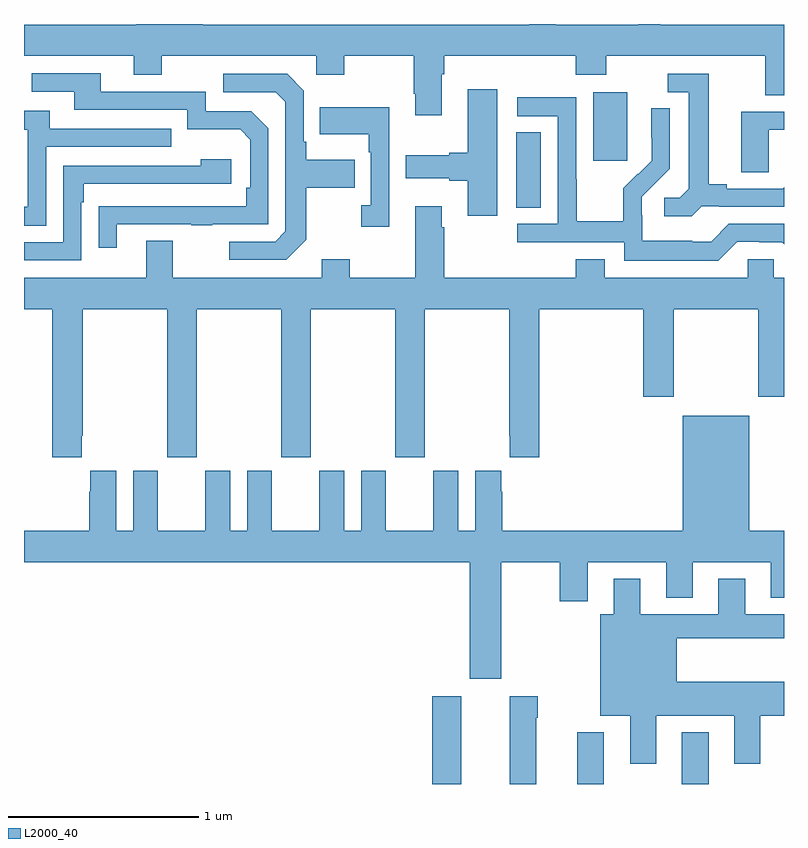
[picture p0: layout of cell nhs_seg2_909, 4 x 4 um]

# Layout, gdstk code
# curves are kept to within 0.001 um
import gdstk
lib = gdstk.Library(unit=1e-6, precision=1e-09)
def R(c, l, rs):  # rectangles x0, y0, x1, y1
    for r in rs: c.add(gdstk.rectangle(r[:2], r[2:], *l))
def P(c, l, *ps):  # polygons
    for p in ps: c.add(gdstk.Polygon(p, *l))
L2000_40 = (2000, 40)

nhs_seg2_909 = lib.new_cell('nhs_seg2_909')
R(nhs_seg2_909, L2000_40, [(159.149,647.8,159.301,648.262), (159.911,647.8,160.051,648.073), (160.463,647.8,160.603,648.073), (159.59,650.833,159.721,651.23), (159.995,651.081,160.174,651.442)])
P(nhs_seg2_909, L2000_40, [(159.199,651.536),(159.212,651.536),(159.212,651.632),(159.905,651.632),(159.905,651.533),(160.065,651.533),(160.065,651.632),(160.901,651.632),(160.901,651.424),(161,651.424),(161,651.796),(160.349,651.796),(160.349,651.8),(160.233,651.8),(160.233,651.796),(159.799,651.796),(159.799,651.8),(159.659,651.8),(159.659,651.796),(157.942,651.796),(157.942,651.8),(157.592,651.8),(157.592,651.796),(157,651.796),(157,651.632),(157.577,651.632),(157.577,651.533),(157.725,651.533),(157.725,651.632),(158.538,651.632),(158.538,651.533),(158.685,651.533),(158.685,651.632),(159.052,651.632),(159.052,651.433),(159.059,651.433),(159.059,651.321),(159.199,651.321)],
  [(157.489,650.745),(157.879,650.745),(157.879,650.74),(157.991,650.74),(157.991,650.745),(158.286,650.745),(158.286,651.252),(158.196,651.342),(157.956,651.342),(157.956,651.444),(157.405,651.444),(157.405,651.54),(157.041,651.54),(157.041,651.444),(157.265,651.444),(157.265,651.348),(157.86,651.348),(157.86,651.245),(158.137,651.245),(158.19,651.192),(158.19,650.938),(158.17,650.938),(158.17,650.841),(157.393,650.84),(157.393,650.622),(157.489,650.622)],
  [(160.566,650.841),(160.66,650.841),(160.66,650.838),(161,650.838),(161,650.94),(160.994,650.934),(160.699,650.934),(160.699,650.957),(160.603,650.957),(160.603,651.537),(160.389,651.537),(160.389,651.441),(160.499,651.441),(160.499,650.933),(160.452,650.886),(160.371,650.886),(160.371,650.789),(160.514,650.789)],
  [(158.485,650.665),(158.485,650.938),(158.741,650.938),(158.741,651.085),(158.485,651.085),(158.485,651.181),(158.472,651.181),(158.472,651.45),(158.385,651.537),(158.049,651.537),(158.049,651.441),(158.325,651.441),(158.376,651.39),(158.376,650.709),(158.322,650.655),(158.079,650.655),(158.079,650.559),(158.379,650.559)],
  [(159.49,651.457),(159.335,651.457),(159.335,651.122),(159.239,651.122),(159.239,651.109),(159.009,651.109),(159.009,650.987),(159.239,650.987),(159.239,650.975),(159.335,650.975),(159.335,650.79),(159.49,650.79)],
  [(160.755,650.655),(160.871,650.655),(160.871,650.652),(160.989,650.652),(161,650.641),(161,650.748),(160.71,650.748),(160.617,650.655),(160.517,650.655),(160.517,650.659),(160.254,650.659),(160.254,650.793),(160.252,650.793),(160.252,650.89),(160.398,651.038),(160.398,651.356),(160.302,651.356),(160.302,651.202),(160.304,651.202),(160.304,651.08),(160.233,651.009),(160.23,651.012),(160.153,650.935),(160.153,650.761),(159.909,650.761),(159.909,650.984),(159.906,650.984),(159.906,651.414),(159.597,651.414),(159.597,651.315),(159.81,651.315),(159.81,650.748),(159.597,650.748),(159.597,650.652),(160.158,650.652),(160.158,650.555),(160.655,650.555)],
  [(158.922,651.361),(158.557,651.361),(158.557,651.221),(158.814,651.221),(158.814,651.125),(158.826,651.125),(158.826,650.846),(158.775,650.846),(158.775,650.733),(158.922,650.733)],
  [(157.116,651.153),(157.775,651.153),(157.775,651.249),(157.135,651.249),(157.135,651.343),(157,651.343),(157,651.243),(157.02,651.243),(157.02,650.838),(157,650.838),(157,650.737),(157.116,650.737)],
  [(160.92,651.243),(161,651.243),(161,651.339),(160.775,651.339),(160.775,651.019),(160.92,651.019)],
  [(157.302,650.861),(157.315,650.861),(157.315,650.958),(158.092,650.958),(158.092,651.088),(157.931,651.088),(157.931,651.054),(157.206,651.054),(157.206,650.652),(157,650.652),(157,650.556),(157.302,650.556)],
  [(157.303,649.633),(157.308,649.633),(157.308,650.3),(157.753,650.3),(157.753,649.521),(157.908,649.521),(157.908,650.3),(158.353,650.3),(158.353,649.521),(158.508,649.521),(158.508,650.3),(158.953,650.3),(158.953,649.521),(159.108,649.521),(159.108,650.3),(159.553,650.3),(159.553,649.633),(159.557,649.633),(159.557,649.521),(159.713,649.521),(159.713,650.3),(160.259,650.3),(160.259,649.839),(160.419,649.839),(160.419,650.3),(160.864,650.3),(160.864,649.839),(161,649.839),(161,650.464),(160.947,650.464),(160.947,650.562),(160.809,650.562),(160.809,650.464),(160.057,650.464),(160.057,650.563),(159.905,650.563),(159.905,650.464),(159.212,650.464),(159.212,650.729),(159.199,650.729),(159.199,650.842),(159.059,650.842),(159.059,650.464),(158.715,650.464),(158.715,650.563),(158.567,650.563),(158.567,650.464),(157.783,650.464),(157.783,650.659),(157.643,650.659),(157.643,650.464),(157,650.464),(157,650.3),(157.148,650.3),(157.148,649.521),(157.303,649.521)],
  [(159.518,649.337),(159.511,649.337),(159.511,649.45),(159.374,649.45),(159.374,649.132),(159.286,649.132),(159.286,649.45),(159.155,649.45),(159.155,649.132),(158.905,649.132),(158.905,649.45),(158.774,649.45),(158.774,649.132),(158.686,649.132),(158.686,649.45),(158.555,649.45),(158.555,649.132),(158.305,649.132),(158.305,649.45),(158.174,649.45),(158.174,649.132),(158.086,649.132),(158.086,649.45),(157.955,649.45),(157.955,649.132),(157.705,649.132),(157.705,649.45),(157.574,649.45),(157.574,649.132),(157.486,649.132),(157.486,649.45),(157.349,649.45),(157.349,649.337),(157.343,649.337),(157.343,649.132),(157,649.132),(157,648.968),(159.347,648.968),(159.347,648.354),(159.511,648.354),(159.511,648.968),(159.82,648.968),(159.82,648.762),(159.967,648.762),(159.967,648.968),(160.379,648.968),(160.379,648.779),(160.519,648.779),(160.519,648.968),(160.931,648.968),(160.931,648.779),(161,648.779),(161,649.132),(160.816,649.132),(160.816,649.738),(160.466,649.738),(160.466,649.132),(159.518,649.132)],
  [(160.327,648.158),(160.739,648.158),(160.739,647.907),(160.876,647.907),(160.876,648.158),(161,648.158),(161,648.337),(160.435,648.337),(160.435,648.566),(161,648.566),(161,648.694),(160.795,648.694),(160.795,648.88),(160.655,648.88),(160.655,648.694),(160.243,648.694),(160.243,648.88),(160.103,648.88),(160.103,648.694),(160.034,648.694),(160.034,648.158),(160.19,648.158),(160.19,647.907),(160.327,647.907)],
  [(159.697,648.149),(159.705,648.149),(159.705,648.262),(159.557,648.262),(159.557,647.8),(159.697,647.8)])

lib.write_gds('nhs_seg2_909.gds')
